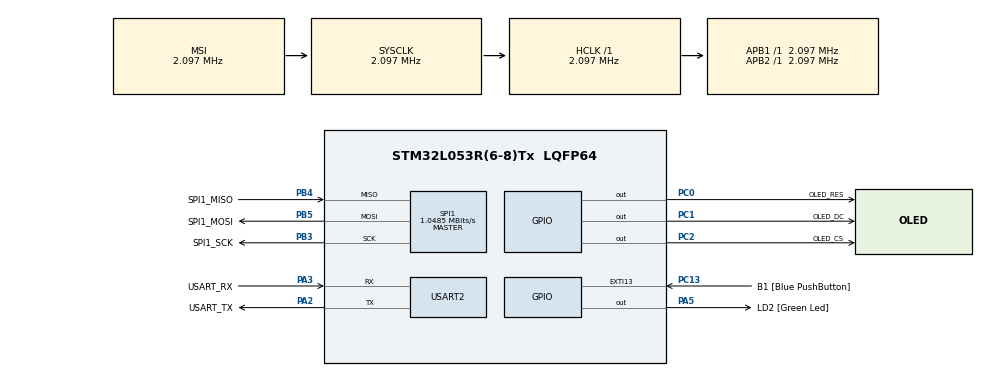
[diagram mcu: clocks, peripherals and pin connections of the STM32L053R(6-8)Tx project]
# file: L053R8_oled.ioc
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Mcu.Family=STM32L0
Mcu.Name=STM32L053R(6-8)Tx
Mcu.Package=LQFP64
PA13.GPIO_Label=TMS
PA13.Mode=Serial_Wire
PA13.Signal=SYS_SWDIO
PA14.GPIO_Label=TCK
PA14.Mode=Serial_Wire
PA14.Signal=SYS_SWCLK
PA2.GPIO_Label=USART_TX
PA2.Mode=Asynchronous
PA2.Signal=USART2_TX
PA3.GPIO_Label=USART_RX
PA3.Mode=Asynchronous
PA3.Signal=USART2_RX
PA5.GPIO_Label=LD2 [Green Led]
PA5.Signal=GPIO_Output
PB3.GPIO_Label=SPI1_SCK
PB3.GPIO_PuPd=GPIO_NOPULL
PB3.GPIO_Speed=GPIO_SPEED_FREQ_HIGH
PB3.Mode=Full_Duplex_Master
PB3.Signal=SPI1_SCK
PB4.GPIO_Label=SPI1_MISO
PB4.GPIO_Speed=GPIO_SPEED_FREQ_HIGH
PB4.Mode=Full_Duplex_Master
PB4.Signal=SPI1_MISO
PB5.GPIO_Label=SPI1_MOSI
PB5.GPIO_Speed=GPIO_SPEED_FREQ_HIGH
PB5.Mode=Full_Duplex_Master
PB5.Signal=SPI1_MOSI
PC0.GPIO_Label=OLED_RES
PC0.Signal=GPIO_Output
PC1.GPIO_Label=OLED_DC
PC1.Signal=GPIO_Output
PC13.GPIO_Label=B1 [Blue PushButton]
PC13.GPIO_ModeDefaultEXTI=GPIO_MODE_IT_FALLING
PC13.Signal=GPXTI13
PC14-OSC32_IN.Mode=LSE-External-Oscillator
PC14-OSC32_IN.Signal=RCC_OSC32_IN
PC15-OSC32_OUT.Mode=LSE-External-Oscillator
PC15-OSC32_OUT.Signal=RCC_OSC32_OUT
PC2.GPIO_Label=OLED_CS
PC2.Signal=GPIO_Output
PH0-OSC_IN.Mode=HSE-External-Clock-Source
PH0-OSC_IN.Signal=RCC_OSC_IN
PH1-OSC_OUT.Signal=RCC_OSC_OUT
ProjectManager.HeapSize=0x200
ProjectManager.StackSize=0x400
ProjectManager.TargetToolchain=STM32CubeIDE
RCC.AHBFreq_Value=2097000
RCC.APB1Freq_Value=2097000
RCC.APB1TimFreq_Value=2097000
RCC.APB2Freq_Value=2097000
RCC.APB2TimFreq_Value=2097000
RCC.HSE_VALUE=8000000
RCC.HSI16_VALUE=16000000
RCC.HSI48_VALUE=48000000
RCC.HSI_VALUE=16000000
RCC.MSI_VALUE=2097000
RCC.SYSCLKFreq_VALUE=2097000
RCC.VCOOutputFreq_Value=48000000
SPI1.BaudRatePrescaler=SPI_BAUDRATEPRESCALER_2
SPI1.CLKPhase=SPI_PHASE_2EDGE
SPI1.CLKPolarity=SPI_POLARITY_HIGH
SPI1.CalculateBaudRate=1.0485 MBits/s
SPI1.Direction=SPI_DIRECTION_2LINES
SPI1.Mode=SPI_MODE_MASTER
SPI1.VirtualType=VM_MASTER
USART2.VirtualMode-Asynchronous=VM_ASYNC
board=NUCLEO-L053R8

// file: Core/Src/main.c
/* USER CODE BEGIN Header */
/**
  ******************************************************************************
  * @file           : main.c
  * @brief          : Main program body
  ******************************************************************************
  * @attention
  *
  * Copyright (c) 2024 STMicroelectronics.
  * All rights reserved.
  *
  * This software is licensed under terms that can be found in the LICENSE file
  * in the root directory of this software component.
  * If no LICENSE file comes with this software, it is provided AS-IS.
  *
  ******************************************************************************
  */
/* USER CODE END Header */
#include "main.h"
#include "spi.h"
#include "usart.h"
#include "gpio.h"

/* USER CODE BEGIN Includes */
#include "stm32l0xx_nucleo.h"

#include "f1206.h"
#include "f1608.h"
#include "f3216.h"
#include "disp_lib.h"
#include "sh1106_drv.h"

/* USER CODE END Includes */

/* USER CODE BEGIN PD */

#define BUFFERSIZE  4

/* USER CODE END PD */

/* USER CODE BEGIN PV */
uint8_t txBuffer[BUFFERSIZE];

//example from ui.c init()
static const char *rpm_default = "9999";
static const char *temperat_default = "999";
static const char *volt_default = "99.99";
static const char *mth_default = "9999";

/* USER CODE END PV */

void SystemClock_Config(void);

int main(void)
{

  /* MCU Configuration--------------------------------------------------------*/

  /* Reset of all peripherals, Initializes the Flash interface and the Systick. */
  HAL_Init();

  /* Configure the system clock */
  SystemClock_Config();

  /* Initialize all configured peripherals */
  MX_GPIO_Init();
  MX_USART2_UART_Init();
  MX_SPI1_Init();
  /* USER CODE BEGIN 2 */

	SH1106_init();
	SH1106_clearScreen();

	// Set default values
	DISP_drawString(2, 8, rpm_default, DISP_FONT1612, DISP_FONT_POSITIVE);
	DISP_drawString(18, 40, temperat_default, DISP_FONT1612, DISP_FONT_POSITIVE);
	DISP_drawString(82, 8, volt_default, DISP_FONT1608, DISP_FONT_POSITIVE);
	DISP_drawString(90, 40, mth_default, DISP_FONT1608, DISP_FONT_POSITIVE);

	SH1106_updateScreen();
	HAL_Delay(4000);
	SH1106_clearScreen();

  /* USER CODE END 2 */

  /* Infinite loop */
  while (1)
  {

    /* USER CODE BEGIN 3 */
    HAL_GPIO_TogglePin(LED2_GPIO_PORT, LED2_PIN);
    /* Insert delay 100 ms */
    HAL_Delay(1000);

  }
  /* USER CODE END 3 */
}

void SystemClock_Config(void)
{
  RCC_OscInitTypeDef RCC_OscInitStruct = {0};
  RCC_ClkInitTypeDef RCC_ClkInitStruct = {0};
  RCC_PeriphCLKInitTypeDef PeriphClkInit = {0};

  /** Configure the main internal regulator output voltage
  */
  __HAL_PWR_VOLTAGESCALING_CONFIG(PWR_REGULATOR_VOLTAGE_SCALE1);

  /** Initializes the RCC Oscillators according to the specified parameters
  * in the RCC_OscInitTypeDef structure.
  */
  RCC_OscInitStruct.OscillatorType = RCC_OSCILLATORTYPE_MSI;
  RCC_OscInitStruct.MSIState = RCC_MSI_ON;
  RCC_OscInitStruct.MSICalibrationValue = 0;
  RCC_OscInitStruct.MSIClockRange = RCC_MSIRANGE_5;
  RCC_OscInitStruct.PLL.PLLState = RCC_PLL_NONE;
  if (HAL_RCC_OscConfig(&RCC_OscInitStruct) != HAL_OK)
  {
    Error_Handler();
  }

  /** Initializes the CPU, AHB and APB buses clocks
  */
  RCC_ClkInitStruct.ClockType = RCC_CLOCKTYPE_HCLK|RCC_CLOCKTYPE_SYSCLK
                              |RCC_CLOCKTYPE_PCLK1|RCC_CLOCKTYPE_PCLK2;
  RCC_ClkInitStruct.SYSCLKSource = RCC_SYSCLKSOURCE_MSI;
  RCC_ClkInitStruct.AHBCLKDivider = RCC_SYSCLK_DIV1;
  RCC_ClkInitStruct.APB1CLKDivider = RCC_HCLK_DIV1;
  RCC_ClkInitStruct.APB2CLKDivider = RCC_HCLK_DIV1;

  if (HAL_RCC_ClockConfig(&RCC_ClkInitStruct, FLASH_LATENCY_0) != HAL_OK)
  {
    Error_Handler();
  }
  PeriphClkInit.PeriphClockSelection = RCC_PERIPHCLK_USART2;
  PeriphClkInit.Usart2ClockSelection = RCC_USART2CLKSOURCE_PCLK1;
  if (HAL_RCCEx_PeriphCLKConfig(&PeriphClkInit) != HAL_OK)
  {
    Error_Handler();
  }
}

void Error_Handler(void)
{
  __disable_irq();
  while (1)
  {
  }
}
